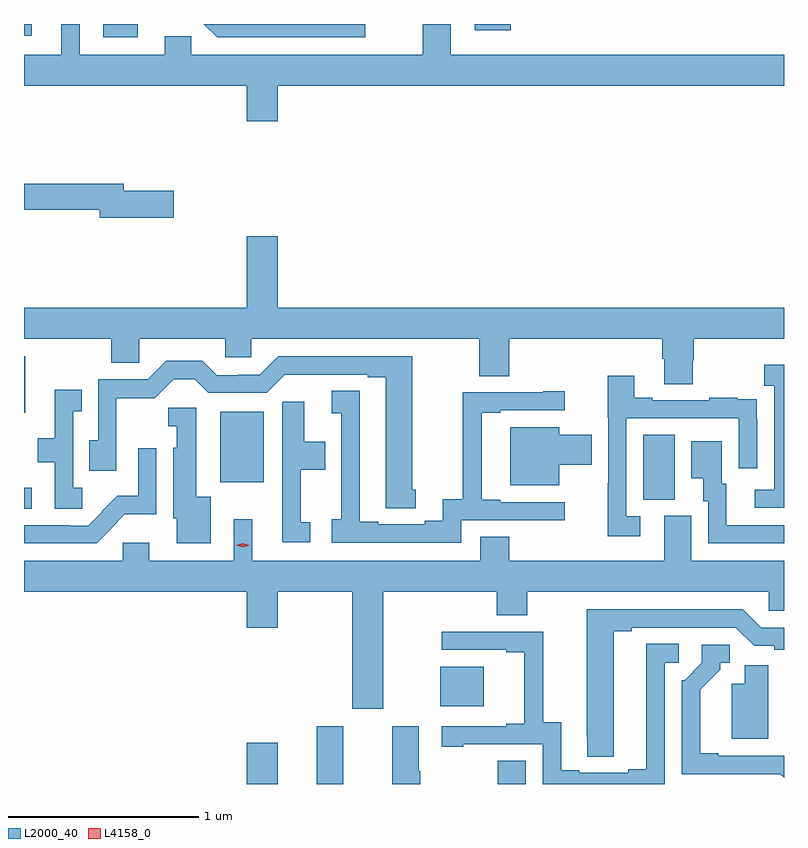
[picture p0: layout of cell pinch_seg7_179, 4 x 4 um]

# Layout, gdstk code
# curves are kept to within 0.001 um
import gdstk
lib = gdstk.Library(unit=1e-6, precision=1e-09)
def R(c, l, rs):  # rectangles x0, y0, x1, y1
    for r in rs: c.add(gdstk.rectangle(r[:2], r[2:], *l))
def P(c, l, *ps):  # polygons
    for p in ps: c.add(gdstk.Polygon(p, *l))
L2000_40 = (2000, 40)
L4158_0 = (4158, 0)

pinch_seg7_179 = lib.new_cell('pinch_seg7_179')
R(pinch_seg7_179, L2000_40, [(1100.072,1034.237,1100.236,1034.455), (1100.441,1034.237,1100.581,1034.542), (1101.394,1034.237,1101.541,1034.36), (1101.092,1034.645,1101.319,1034.854), (1098.9,1035.685,1098.94,1035.796), (1102.16,1035.733,1102.324,1036.076), (1099.934,1035.824,1100.161,1036.195), (1098.9,1036.191,1098.907,1036.488), (1099.316,1038.167,1099.498,1038.237), (1098.9,1038.174,1098.94,1038.237), (1101.273,1038.204,1101.461,1038.237)])
P(pinch_seg7_179, L2000_40, [(1100.236,1037.912),(1102.9,1037.912),(1102.9,1038.076),(1101.145,1038.076),(1101.145,1038.237),(1100.998,1038.237),(1100.998,1038.076),(1099.779,1038.076),(1099.779,1038.172),(1099.64,1038.172),(1099.64,1038.076),(1099.194,1038.076),(1099.194,1038.237),(1099.097,1038.237),(1099.097,1038.076),(1098.9,1038.076),(1098.9,1037.912),(1100.072,1037.912),(1100.072,1037.724),(1100.236,1037.724)],
  [(1100.695,1038.237),(1099.846,1038.237),(1099.916,1038.168),(1100.695,1038.168)],
  [(1099.687,1037.36),(1099.426,1037.36),(1099.426,1037.396),(1098.9,1037.396),(1098.9,1037.26),(1099.298,1037.26),(1099.298,1037.218),(1099.687,1037.218)],
  [(1102.419,1036.467),(1102.424,1036.467),(1102.424,1036.58),(1102.9,1036.58),(1102.9,1036.744),(1100.236,1036.744),(1100.236,1037.119),(1100.072,1037.119),(1100.072,1036.744),(1098.9,1036.744),(1098.9,1036.58),(1099.36,1036.58),(1099.36,1036.453),(1099.506,1036.453),(1099.506,1036.58),(1099.959,1036.58),(1099.959,1036.482),(1100.097,1036.482),(1100.097,1036.58),(1101.295,1036.58),(1101.295,1036.384),(1101.455,1036.384),(1101.455,1036.58),(1102.259,1036.58),(1102.259,1036.474),(1102.271,1036.474),(1102.271,1036.342),(1102.419,1036.342)],
  [(1100.962,1035.786),(1100.944,1035.786),(1100.944,1036.488),(1100.238,1036.488),(1100.142,1036.392),(1100.027,1036.392),(1100.027,1036.389),(1099.914,1036.389),(1099.838,1036.465),(1099.648,1036.465),(1099.551,1036.368),(1099.29,1036.368),(1099.29,1036.046),(1099.243,1036.046),(1099.243,1035.885),(1099.386,1035.885),(1099.386,1036.267),(1099.588,1036.267),(1099.688,1036.368),(1099.798,1036.368),(1099.869,1036.296),(1100.178,1036.296),(1100.273,1036.391),(1100.708,1036.392),(1100.708,1036.377),(1100.804,1036.377),(1100.805,1035.688),(1100.962,1035.688)],
  [(1102.9,1036.444),(1102.797,1036.444),(1102.797,1036.334),(1102.848,1036.334),(1102.848,1035.786),(1102.746,1035.786),(1102.746,1035.69),(1102.9,1035.69)],
  [(1102.144,1035.645),(1102.071,1035.645),(1102.071,1036.161),(1102.662,1036.161),(1102.662,1035.9),(1102.758,1035.9),(1102.758,1036.154),(1102.757,1036.154),(1102.757,1036.263),(1102.655,1036.263),(1102.655,1036.27),(1102.507,1036.27),(1102.507,1036.257),(1102.207,1036.257),(1102.207,1036.27),(1102.111,1036.27),(1102.111,1036.387),(1101.973,1036.387),(1101.973,1036.164),(1101.975,1036.164),(1101.975,1035.821),(1101.973,1035.821),(1101.973,1035.54),(1102.144,1035.54)],
  [(1099.207,1035.796),(1099.158,1035.796),(1099.158,1036.199),(1099.205,1036.199),(1099.205,1036.312),(1099.061,1036.312),(1099.061,1036.058),(1098.973,1036.058),(1098.973,1035.93),(1099.062,1035.93),(1099.062,1035.685),(1099.207,1035.685)],
  [(1101.201,1035.624),(1101.745,1035.624),(1101.745,1035.72),(1101.406,1035.72),(1101.406,1035.733),(1101.31,1035.733),(1101.31,1036.191),(1101.406,1036.191),(1101.406,1036.203),(1101.745,1036.203),(1101.745,1036.304),(1101.632,1036.304),(1101.632,1036.299),(1101.208,1036.299),(1101.208,1035.736),(1101.104,1035.736),(1101.104,1035.622),(1101.008,1035.622),(1101.008,1035.603),(1100.764,1035.603),(1100.764,1035.618),(1100.668,1035.618),(1100.668,1036.199),(1100.667,1036.199),(1100.667,1036.307),(1100.52,1036.307),(1100.52,1036.189),(1100.571,1036.189),(1100.571,1035.631),(1100.52,1035.631),(1100.52,1035.507),(1101.201,1035.507)],
  [(1100.407,1035.615),(1100.357,1035.615),(1100.357,1035.89),(1100.486,1035.89),(1100.486,1036.038),(1100.374,1036.038),(1100.374,1036.249),(1100.258,1036.249),(1100.258,1035.51),(1100.407,1035.51)],
  [(1099.882,1035.748),(1099.807,1035.748),(1099.807,1036.218),(1099.659,1036.218),(1099.659,1036.119),(1099.704,1036.119),(1099.704,1036.008),(1099.685,1036.008),(1099.685,1035.636),(1099.703,1035.636),(1099.703,1035.503),(1099.882,1035.503)],
  [(1101.718,1035.917),(1101.889,1035.917),(1101.889,1036.075),(1101.718,1036.075),(1101.718,1036.114),(1101.458,1036.114),(1101.458,1035.809),(1101.718,1035.809)],
  [(1102.9,1035.6),(1102.597,1035.6),(1102.597,1035.816),(1102.573,1035.816),(1102.573,1036.042),(1102.412,1036.042),(1102.412,1035.845),(1102.475,1035.845),(1102.475,1035.726),(1102.5,1035.726),(1102.5,1035.504),(1102.9,1035.504)],
  [(1099.36,1035.581),(1099.358,1035.584),(1099.431,1035.657),(1099.596,1035.657),(1099.596,1036.003),(1099.5,1036.003),(1099.5,1035.755),(1099.391,1035.755),(1099.308,1035.672),(1099.311,1035.669),(1099.239,1035.597),(1099.139,1035.597),(1099.139,1035.6),(1098.9,1035.6),(1098.9,1035.504),(1099.282,1035.504)],
  [(1100.791,1035.248),(1101.389,1035.248),(1101.389,1035.124),(1101.549,1035.124),(1101.549,1035.248),(1102.821,1035.248),(1102.821,1035.15),(1102.9,1035.15),(1102.9,1035.412),(1102.411,1035.412),(1102.411,1035.648),(1102.271,1035.648),(1102.271,1035.412),(1101.455,1035.412),(1101.455,1035.539),(1101.302,1035.539),(1101.302,1035.412),(1100.101,1035.412),(1100.101,1035.631),(1100.004,1035.631),(1100.004,1035.412),(1099.558,1035.412),(1099.558,1035.507),(1099.419,1035.507),(1099.419,1035.412),(1098.9,1035.412),(1098.9,1035.248),(1100.072,1035.248),(1100.072,1035.06),(1100.236,1035.06),(1100.236,1035.248),(1100.627,1035.248),(1100.627,1034.634),(1100.791,1034.634)],
  [(1102.003,1035.04),(1102.099,1035.04),(1102.099,1035.06),(1102.647,1035.06),(1102.743,1034.964),(1102.848,1034.964),(1102.848,1034.944),(1102.9,1034.944),(1102.9,1035.06),(1102.779,1035.06),(1102.683,1035.156),(1101.863,1035.156),(1101.864,1034.38),(1102.003,1034.38)],
  [(1102.272,1034.874),(1102.345,1034.874),(1102.345,1034.975),(1102.175,1034.975),(1102.175,1034.315),(1102.079,1034.315),(1102.079,1034.295),(1101.823,1034.295),(1101.823,1034.31),(1101.727,1034.31),(1101.727,1034.561),(1101.633,1034.561),(1101.633,1035.039),(1101.099,1035.039),(1101.099,1034.943),(1101.437,1034.943),(1101.437,1034.93),(1101.533,1034.93),(1101.533,1034.554),(1101.437,1034.554),(1101.437,1034.541),(1101.099,1034.541),(1101.099,1034.433),(1101.211,1034.433),(1101.211,1034.445),(1101.63,1034.445),(1101.63,1034.237),(1102.272,1034.237)],
  [(1102.9,1034.385),(1102.555,1034.385),(1102.555,1034.398),(1102.459,1034.398),(1102.459,1034.734),(1102.564,1034.839),(1102.564,1034.874),(1102.614,1034.874),(1102.614,1034.97),(1102.467,1034.97),(1102.467,1034.874),(1102.377,1034.784),(1102.362,1034.784),(1102.362,1034.288),(1102.881,1034.289),(1102.9,1034.27)],
  [(1102.816,1034.862),(1102.694,1034.862),(1102.694,1034.764),(1102.625,1034.764),(1102.625,1034.474),(1102.816,1034.474)],
  [(1100.985,1034.303),(1100.977,1034.303),(1100.977,1034.542),(1100.837,1034.542),(1100.837,1034.237),(1100.985,1034.237)])
P(pinch_seg7_179, L4158_0, [(1100.052,1035.484),(1100.017,1035.493),(1100.017,1035.494),(1100.017,1035.494),(1100.052,1035.504),(1100.087,1035.494),(1100.087,1035.494),(1100.087,1035.493)])

lib.write_gds('pinch_seg7_179.gds')
